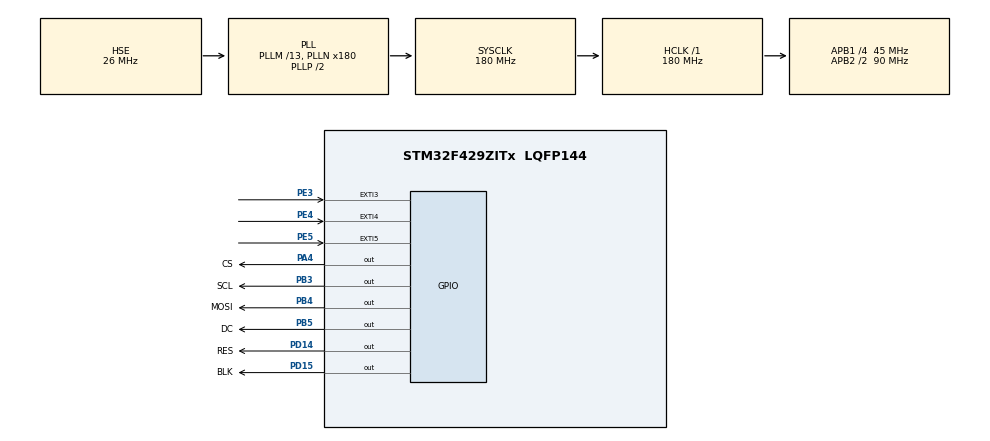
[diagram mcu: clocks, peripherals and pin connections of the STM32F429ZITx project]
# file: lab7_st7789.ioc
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FREERTOS.Tasks01=defaultTask,24,128,StartDefaultTask,Default,NULL,Dynamic,NULL,NULL
Mcu.Family=STM32F4
Mcu.Name=STM32F429ZITx
Mcu.Package=LQFP144
NVIC.EXTI3_IRQn=true\:5\:0\:false\:false\:true\:true\:true\:true\:true
NVIC.EXTI4_IRQn=true\:5\:0\:false\:false\:true\:true\:true\:true\:true
NVIC.EXTI9_5_IRQn=true\:5\:0\:false\:false\:true\:true\:true\:true\:true
NVIC.PriorityGroup=NVIC_PRIORITYGROUP_4
PA13.Mode=Serial_Wire
PA13.Signal=SYS_JTMS-SWDIO
PA14.Mode=Serial_Wire
PA14.Signal=SYS_JTCK-SWCLK
PA4.GPIO_Label=CS
PA4.Signal=GPIO_Output
PB3.GPIO_Label=SCL
PB3.Signal=GPIO_Output
PB4.GPIO_Label=MOSI
PB4.Signal=GPIO_Output
PB5.GPIO_Label=DC
PB5.Signal=GPIO_Output
PC14/OSC32_IN.Mode=LSE-External-Oscillator
PC14/OSC32_IN.Signal=RCC_OSC32_IN
PC15/OSC32_OUT.Mode=LSE-External-Oscillator
PC15/OSC32_OUT.Signal=RCC_OSC32_OUT
PD14.GPIO_Label=RES
PD14.Signal=GPIO_Output
PD15.GPIO_Label=BLK
PD15.Signal=GPIO_Output
PE3.Signal=GPXTI3
PE4.Signal=GPXTI4
PE5.Signal=GPXTI5
PH0/OSC_IN.Mode=HSE-External-Oscillator
PH0/OSC_IN.Signal=RCC_OSC_IN
PH1/OSC_OUT.Mode=HSE-External-Oscillator
PH1/OSC_OUT.Signal=RCC_OSC_OUT
ProjectManager.HeapSize=0x200
ProjectManager.StackSize=0x400
ProjectManager.TargetToolchain=MDK-ARM V5.32
RCC.48MHZClocksFreq_Value=51428571.428571425
RCC.AHBFreq_Value=180000000
RCC.APB1CLKDivider=RCC_HCLK_DIV4
RCC.APB1Freq_Value=45000000
RCC.APB1TimFreq_Value=90000000
RCC.APB2CLKDivider=RCC_HCLK_DIV2
RCC.APB2Freq_Value=90000000
RCC.APB2TimFreq_Value=180000000
RCC.CortexFreq_Value=180000000
RCC.HCLKFreq_Value=180000000
RCC.HSE_VALUE=26000000
RCC.HSI_VALUE=16000000
RCC.PLLM=13
RCC.PLLMUL=RCC_PLL_MUL9
RCC.PLLN=180
RCC.PLLQ=7
RCC.PLLSourceVirtual=RCC_PLLSOURCE_HSE
RCC.PRESCALERUSB=RCC_USBCLKSOURCE_PLL_DIV1_5
RCC.SYSCLKFreq_VALUE=180000000
RCC.SYSCLKSource=RCC_SYSCLKSOURCE_PLLCLK
RCC.SYSCLKSourceVirtual=RCC_SYSCLKSOURCE_PLLCLK
RCC.USBFreq_Value=48000000
RCC.VCOOutputFreq_Value=360000000
VP_FREERTOS_VS_CMSIS_V2.Mode=CMSIS_V2
board=NUCLEO-F429ZI

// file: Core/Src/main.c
/* USER CODE BEGIN Header */
/**
  ******************************************************************************
  * @file           : main.c
  * @brief          : Main program body
  ******************************************************************************
  * @attention
  *
  * Copyright (c) 2024 STMicroelectronics.
  * All rights reserved.
  *
  * This software is licensed under terms that can be found in the LICENSE file
  * in the root directory of this software component.
  * If no LICENSE file comes with this software, it is provided AS-IS.
  *
  ******************************************************************************
  */
/* USER CODE END Header */
#include "main.h"
#include "gpio.h"

/* USER CODE BEGIN Includes */
#include "FreeRTOS.h"
#include "queue.h"
#include "task.h"
#include "lcd.h"
#include "lcd_init.h"
#include "image.h"
#include "image_2.h"
#include "image_3.h"

/* USER CODE END Includes */

/* USER CODE BEGIN PV */
TaskHandle_t handleST7789;
QueueHandle_t queueMode;
/* USER CODE END PV */

void SystemClock_Config(void);

/* USER CODE BEGIN 0 */

void taskST7789(void *pvParm){
	uint8_t button = 255;
	uint8_t update = 0;
	int idx = 0;
	uint16_t tick = 0;

	uint8_t str_student_id[] = "B11117054";
	uint8_t str_hellpigs[] = "Hell Pigs";
	uint8_t str_hellpigs_bj[] = "BJ";
	uint8_t str_hellpigs_gt[] = "Gontone";
	uint8_t str_hellpigs_sun[] = "Sun";

	LCD_Fill(0, 0, 240, 240, WHITE);
	LCD_ShowString(10, 30, str_student_id, BLACK, WHITE, 12, 1);
	LCD_ShowString(10, 60, str_student_id, BLACK, WHITE, 16, 1);
	LCD_ShowString(10, 90, str_student_id, BLACK, WHITE, 24, 1);
	LCD_ShowString(10, 120, str_student_id, BLACK, WHITE, 32, 1);

	while(1){
		vTaskDelay(1 / portTICK_RATE_MS);

		xQueueReceive(queueMode, &button, NULL);
		BaseType_t queueModeReceive = xQueueReceive(queueMode, &button, 10 / portTICK_RATE_MS);

		if(queueModeReceive == pdPASS){
			HAL_GPIO_WritePin(GPIOB, GPIO_PIN_14, 1);

			update = 1;
			tick = 0;

			if (button == 0){
				idx = 0;
				tick = 50;
			} else if (button == 1){
				idx++;
			} else if (button == 2){
				idx--;
			}
		}

		if (button == 0){
			if (--tick == 0){
				update = 1;
				idx++;
				tick = 20;
			}
		}

		if (!update){
				continue;
		}
		update = 0;

		if(idx >= 3){
			idx = 0;
		} else if (idx < 0){
			idx = 2;
		}

		switch(idx){
			case 0: {
				LCD_ShowPicture(0,0,240,240, gImage_image_2);
				LCD_ShowString(10, 180, str_hellpigs_gt, BLACK, WHITE, 24, 0);
				LCD_ShowString(10, 220, str_hellpigs, BLACK, WHITE, 16, 0);
				break;
			}
			case 1:
			{
				LCD_ShowPicture(0,0,240,240, gImage_image);
				LCD_ShowString(10, 180, str_hellpigs_bj, BLACK, WHITE, 24, 0);
				LCD_ShowString(10, 220, str_hellpigs, BLACK, WHITE, 16, 0);
				break;
			}
			case 2:{
				LCD_ShowPicture(0,0,240,240, gImage_image_3);
				LCD_ShowString(10, 180, str_hellpigs_sun, BLACK, WHITE, 24, 0);
				LCD_ShowString(10, 220, str_hellpigs, BLACK, WHITE, 16, 0);
				break;
			}
			default:
				break;
		}
	}
}

void HAL_GPIO_EXTI_Callback(uint16_t GPIO_Pin)
{
		uint8_t button = 0;

    switch (GPIO_Pin)
    {
    // sw1 PE3
    case GPIO_PIN_3:
    {
        if (HAL_GPIO_ReadPin(GPIOE, GPIO_PIN_3) == 1)
        {
					button = 0;
					xQueueSendFromISR(queueMode, &button, NULL);
        }
        break;
    }
    // sw2 PE4
    case GPIO_PIN_4:
    {
        if (HAL_GPIO_ReadPin(GPIOE, GPIO_PIN_4) == 1)
        {
					button = 1;
					xQueueSendFromISR(queueMode, &button, NULL);
        }
        break;
    }
		case GPIO_PIN_5:{
        if (HAL_GPIO_ReadPin(GPIOE, GPIO_PIN_5) == 1)
        {
					button = 2;
					xQueueSendFromISR(queueMode, &button, NULL);
        }
				break;
		}
    default:
        break;
    }
}
/* USER CODE END 0 */

int main(void)
{

  /* MCU Configuration--------------------------------------------------------*/

  /* Reset of all peripherals, Initializes the Flash interface and the Systick. */
  HAL_Init();

  /* Configure the system clock */
  SystemClock_Config();

  /* Initialize all configured peripherals */
  MX_GPIO_Init();
  /* USER CODE BEGIN 2 */
	LCD_Init();
	LCD_CS_Clr();
	LCD_Address_Set(0,0,240,240);
	queueMode = xQueueCreate(3, sizeof(uint8_t));
	xTaskCreate(taskST7789, "LCD Display", 2048, NULL, 5, &handleST7789);

	vTaskStartScheduler();
  /* USER CODE END 2 */

  /* We should never get here as control is now taken by the scheduler */
  /* Infinite loop */
  while (1)
  {

  }
}

void SystemClock_Config(void)
{
  RCC_OscInitTypeDef RCC_OscInitStruct = {0};
  RCC_ClkInitTypeDef RCC_ClkInitStruct = {0};

  /** Configure the main internal regulator output voltage
  */
  __HAL_RCC_PWR_CLK_ENABLE();
  __HAL_PWR_VOLTAGESCALING_CONFIG(PWR_REGULATOR_VOLTAGE_SCALE1);

  /** Initializes the RCC Oscillators according to the specified parameters
  * in the RCC_OscInitTypeDef structure.
  */
  RCC_OscInitStruct.OscillatorType = RCC_OSCILLATORTYPE_HSE;
  RCC_OscInitStruct.HSEState = RCC_HSE_ON;
  RCC_OscInitStruct.PLL.PLLState = RCC_PLL_ON;
  RCC_OscInitStruct.PLL.PLLSource = RCC_PLLSOURCE_HSE;
  RCC_OscInitStruct.PLL.PLLM = 13;
  RCC_OscInitStruct.PLL.PLLN = 180;
  RCC_OscInitStruct.PLL.PLLP = RCC_PLLP_DIV2;
  RCC_OscInitStruct.PLL.PLLQ = 7;
  if (HAL_RCC_OscConfig(&RCC_OscInitStruct) != HAL_OK)
  {
    Error_Handler();
  }

  /** Activate the Over-Drive mode
  */
  if (HAL_PWREx_EnableOverDrive() != HAL_OK)
  {
    Error_Handler();
  }

  /** Initializes the CPU, AHB and APB buses clocks
  */
  RCC_ClkInitStruct.ClockType = RCC_CLOCKTYPE_HCLK|RCC_CLOCKTYPE_SYSCLK
                              |RCC_CLOCKTYPE_PCLK1|RCC_CLOCKTYPE_PCLK2;
  RCC_ClkInitStruct.SYSCLKSource = RCC_SYSCLKSOURCE_PLLCLK;
  RCC_ClkInitStruct.AHBCLKDivider = RCC_SYSCLK_DIV1;
  RCC_ClkInitStruct.APB1CLKDivider = RCC_HCLK_DIV4;
  RCC_ClkInitStruct.APB2CLKDivider = RCC_HCLK_DIV2;

  if (HAL_RCC_ClockConfig(&RCC_ClkInitStruct, FLASH_LATENCY_5) != HAL_OK)
  {
    Error_Handler();
  }
}

void Error_Handler(void)
{
  __disable_irq();
  while (1)
  {
  }
}
